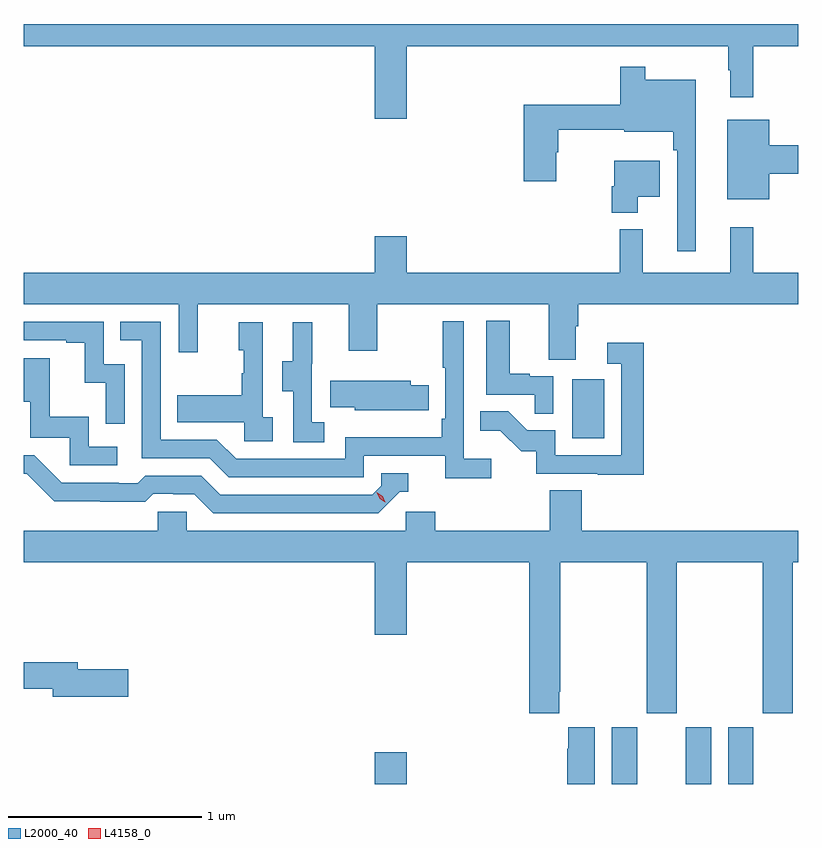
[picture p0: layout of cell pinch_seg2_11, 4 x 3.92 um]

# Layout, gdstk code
import gdstk
lib = gdstk.Library(unit=1e-6, precision=1e-09)
def R(c, l, rs):  # rectangles x0, y0, x1, y1
    for r in rs: c.add(gdstk.rectangle(r[:2], r[2:], *l))
def P(c, l, *ps):  # polygons
    for p in ps: c.add(gdstk.Polygon(p, *l))
L2000_40 = (2000, 40)
L4158_0 = (4158, 0)

pinch_seg2_11 = lib.new_cell('pinch_seg2_11')
R(pinch_seg2_11, L2000_40, [(1112.06,662.476,1112.224,662.641), (1113.284,662.476,1113.415,662.77), (1113.665,662.476,1113.796,662.77), (1113.884,662.476,1114.015,662.77), (1113.08,664.26,1113.244,664.567)])
P(pinch_seg2_11, L2000_40, [(1112.224,666.284),(1113.885,666.284),(1113.885,666.161),(1113.896,666.161),(1113.896,666.021),(1114.013,666.021),(1114.013,666.284),(1114.247,666.284),(1114.247,666.4),(1110.247,666.4),(1110.247,666.284),(1112.06,666.284),(1112.06,665.91),(1112.224,665.91)],
  [(1113.718,666.112),(1113.457,666.112),(1113.457,666.178),(1113.328,666.178),(1113.328,665.983),(1112.828,665.983),(1112.828,665.589),(1112.998,665.589),(1112.998,665.739),(1113.006,665.739),(1113.006,665.854),(1113.347,665.854),(1113.347,665.843),(1113.601,665.843),(1113.601,665.747),(1113.621,665.747),(1113.621,665.226),(1113.718,665.226)],
  [(1114.096,665.627),(1114.247,665.627),(1114.247,665.774),(1114.096,665.774),(1114.096,665.905),(1113.881,665.905),(1113.881,665.495),(1114.096,665.495)],
  [(1113.418,665.507),(1113.532,665.507),(1113.532,665.695),(1113.296,665.695),(1113.296,665.562),(1113.284,665.562),(1113.284,665.426),(1113.418,665.426)],
  [(1113.097,664.84),(1113.11,664.84),(1113.11,664.952),(1114.247,664.952),(1114.247,665.116),(1114.013,665.116),(1114.013,665.35),(1113.896,665.35),(1113.896,665.116),(1113.443,665.116),(1113.443,665.341),(1113.325,665.341),(1113.325,665.116),(1112.224,665.116),(1112.224,665.305),(1112.06,665.305),(1112.06,665.116),(1110.247,665.116),(1110.247,664.952),(1111.047,664.952),(1111.047,664.704),(1111.145,664.704),(1111.145,664.952),(1111.925,664.952),(1111.925,664.713),(1112.073,664.713),(1112.073,664.952),(1112.957,664.952),(1112.957,664.666),(1113.097,664.666)],
  [(1112.982,664.581),(1112.861,664.581),(1112.861,664.594),(1112.758,664.594),(1112.758,664.867),(1112.636,664.867),(1112.636,664.485),(1112.887,664.485),(1112.887,664.387),(1112.982,664.387)],
  [(1112.662,664.156),(1112.52,664.156),(1112.52,664.864),(1112.412,664.864),(1112.412,664.624),(1112.424,664.624),(1112.424,664.363),(1112.407,664.363),(1112.407,664.267),(1111.908,664.267),(1111.908,664.155),(1111.344,664.155),(1111.245,664.254),(1110.954,664.254),(1110.954,664.863),(1110.745,664.863),(1110.745,664.767),(1110.858,664.767),(1110.858,664.158),(1111.208,664.158),(1111.307,664.059),(1112.004,664.059),(1112.004,664.17),(1112.423,664.17),(1112.423,664.054),(1112.662,664.054)],
  [(1110.768,664.644),(1110.66,664.644),(1110.66,664.863),(1110.247,664.863),(1110.247,664.767),(1110.467,664.767),(1110.467,664.755),(1110.563,664.755),(1110.563,664.547),(1110.672,664.547),(1110.672,664.335),(1110.768,664.335)],
  [(1111.798,664.343),(1111.734,664.343),(1111.734,664.647),(1111.736,664.647),(1111.736,664.861),(1111.637,664.861),(1111.637,664.659),(1111.583,664.659),(1111.583,664.504),(1111.638,664.504),(1111.638,664.24),(1111.798,664.24)],
  [(1111.534,664.37),(1111.482,664.37),(1111.482,664.861),(1111.358,664.861),(1111.358,664.716),(1111.384,664.716),(1111.384,664.598),(1111.374,664.598),(1111.374,664.483),(1111.039,664.483),(1111.039,664.343),(1111.386,664.343),(1111.386,664.245),(1111.534,664.245)],
  [(1113.449,664.753),(1113.261,664.753),(1113.261,664.647),(1113.333,664.647),(1113.333,664.173),(1112.991,664.173),(1112.991,664.302),(1112.846,664.302),(1112.748,664.4),(1112.605,664.4),(1112.605,664.301),(1112.709,664.301),(1112.816,664.194),(1112.893,664.194),(1112.893,664.077),(1113.211,664.077),(1113.211,664.072),(1113.449,664.072)],
  [(1110.73,664.218),(1110.582,664.218),(1110.582,664.372),(1110.383,664.372),(1110.383,664.675),(1110.247,664.675),(1110.247,664.449),(1110.281,664.449),(1110.281,664.263),(1110.486,664.263),(1110.486,664.122),(1110.73,664.122)],
  [(1112.228,664.407),(1112.339,664.407),(1112.339,664.536),(1112.245,664.536),(1112.245,664.558),(1111.831,664.558),(1111.831,664.421),(1111.956,664.421),(1111.956,664.406),(1112.228,664.406)],
  [(1112.19,663.984),(1112.233,663.984),(1112.233,664.08),(1112.094,664.08),(1112.094,664.017),(1112.046,663.969),(1111.263,663.969),(1111.164,664.068),(1110.875,664.068),(1110.836,664.029),(1110.737,664.029),(1110.737,664.032),(1110.444,664.032),(1110.303,664.173),(1110.247,664.173),(1110.247,664.077),(1110.264,664.077),(1110.406,663.935),(1110.642,663.935),(1110.642,663.933),(1110.875,663.933),(1110.917,663.975),(1111.02,663.975),(1111.02,663.972),(1111.127,663.972),(1111.226,663.873),(1112.079,663.873)],
  [(1113.013,662.953),(1113.018,662.953),(1113.018,663.62),(1113.463,663.62),(1113.463,662.841),(1113.618,662.841),(1113.618,663.62),(1114.063,663.62),(1114.063,662.841),(1114.218,662.841),(1114.218,663.62),(1114.247,663.62),(1114.247,663.784),(1113.128,663.784),(1113.128,663.992),(1112.963,663.992),(1112.963,663.784),(1112.372,663.784),(1112.372,663.882),(1112.22,663.882),(1112.22,663.784),(1111.089,663.784),(1111.089,663.882),(1110.939,663.882),(1110.939,663.784),(1110.247,663.784),(1110.247,663.62),(1112.06,663.62),(1112.06,663.246),(1112.224,663.246),(1112.224,663.62),(1112.858,663.62),(1112.858,662.841),(1113.013,662.841)],
  [(1110.787,663.068),(1110.526,663.068),(1110.526,663.104),(1110.247,663.104),(1110.247,662.968),(1110.398,662.968),(1110.398,662.926),(1110.787,662.926)],
  [(1113.196,662.77),(1113.059,662.77),(1113.059,662.657),(1113.053,662.657),(1113.053,662.476),(1113.196,662.476)])
P(pinch_seg2_11, L4158_0, [(1112.115,663.93),(1112.085,663.949),(1112.07,663.982),(1112.07,663.982),(1112.07,663.982),(1112.1,663.962),(1112.115,663.93),(1112.115,663.93)])

lib.write_gds('pinch_seg2_11.gds')
